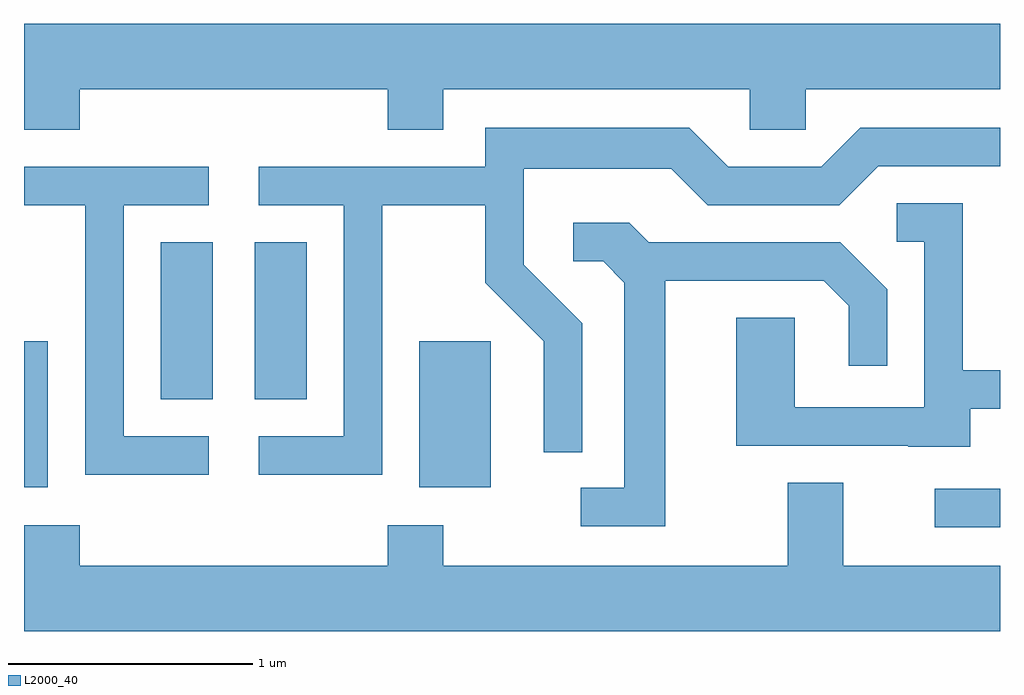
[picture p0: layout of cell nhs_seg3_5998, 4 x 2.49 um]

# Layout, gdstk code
import gdstk
lib = gdstk.Library(unit=1e-6, precision=1e-09)
def R(c, l, rs):  # rectangles x0, y0, x1, y1
    for r in rs: c.add(gdstk.rectangle(r[:2], r[2:], *l))
def P(c, l, *ps):  # polygons
    for p in ps: c.add(gdstk.Polygon(p, *l))
L2000_40 = (2000, 40)

nhs_seg3_5998 = lib.new_cell('nhs_seg3_5998')
R(nhs_seg3_5998, L2000_40, [(365.343,1153.081,365.611,1153.239), (361.611,1153.246,361.709,1153.844), (363.231,1153.246,363.524,1153.844), (362.171,1153.606,362.384,1154.249), (362.556,1153.606,362.769,1154.249)])
P(nhs_seg3_5998, L2000_40, [(361.611,1154.711),(361.839,1154.711),(361.839,1154.876),(363.101,1154.876),(363.101,1154.711),(363.329,1154.711),(363.329,1154.876),(364.586,1154.876),(364.586,1154.711),(364.814,1154.711),(364.814,1154.876),(365.611,1154.876),(365.611,1155.144),(361.611,1155.144)],
  [(363.079,1154.401),(363.501,1154.401),(363.501,1154.084),(363.741,1153.844),(363.741,1153.388),(363.899,1153.388),(363.899,1153.917),(363.659,1154.157),(363.659,1154.551),(364.264,1154.551),(364.414,1154.401),(364.952,1154.401),(365.112,1154.561),(365.611,1154.561),(365.611,1154.719),(365.039,1154.719),(364.879,1154.559),(364.497,1154.559),(364.337,1154.719),(363.501,1154.719),(363.501,1154.559),(362.573,1154.559),(362.573,1154.401),(362.921,1154.401),(362.921,1153.454),(362.573,1153.454),(362.573,1153.296),(363.079,1153.296)],
  [(362.368,1153.454),(362.019,1153.454),(362.019,1154.401),(362.368,1154.401),(362.368,1154.559),(361.611,1154.559),(361.611,1154.401),(361.861,1154.401),(361.861,1153.296),(362.368,1153.296)],
  [(365.489,1153.566),(365.611,1153.566),(365.611,1153.724),(365.459,1153.724),(365.459,1154.409),(365.188,1154.409),(365.188,1154.251),(365.301,1154.251),(365.301,1153.574),(364.769,1153.574),(364.769,1153.939),(364.531,1153.939),(364.531,1153.416),(365.235,1153.416),(365.235,1153.411),(365.489,1153.411)],
  [(364.239,1154.091),(364.889,1154.091),(364.991,1153.989),(364.991,1153.743),(365.149,1153.743),(365.149,1154.057),(364.957,1154.249),(364.172,1154.249),(364.092,1154.329),(363.863,1154.329),(363.863,1154.171),(363.984,1154.171),(364.071,1154.084),(364.071,1153.244),(363.893,1153.244),(363.893,1153.086),(364.239,1153.086)],
  [(365.611,1152.924),(364.969,1152.924),(364.969,1153.264),(364.741,1153.264),(364.741,1152.924),(363.329,1152.924),(363.329,1153.089),(363.101,1153.089),(363.101,1152.924),(361.839,1152.924),(361.839,1153.089),(361.611,1153.089),(361.611,1152.656),(365.611,1152.656)])

lib.write_gds('nhs_seg3_5998.gds')
